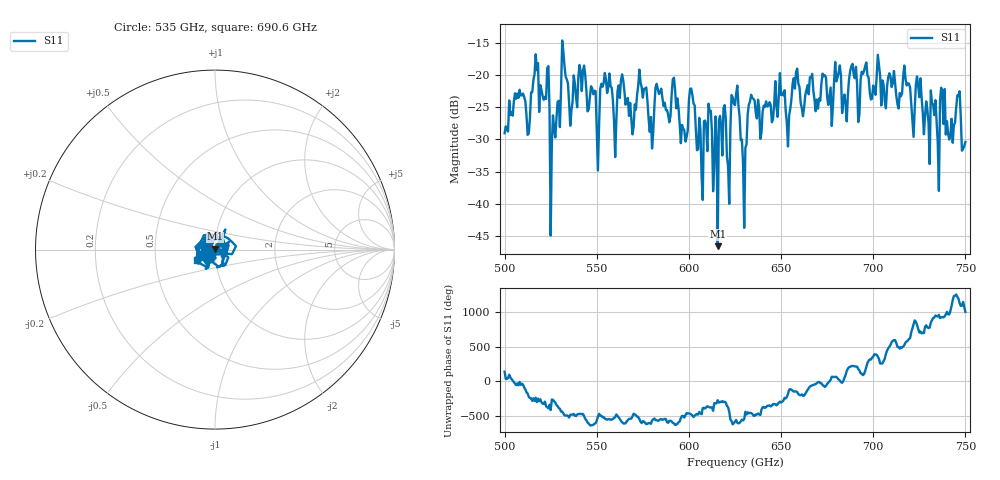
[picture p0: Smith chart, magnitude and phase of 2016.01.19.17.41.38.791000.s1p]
!Created with skrf (http://scikit-rf.org).
# GHz S RI R 50.0
!freq ReS11 ImS11
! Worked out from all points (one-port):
!   401 points, 500 GHz to 750 GHz, reference 50 ohm
!   lowest |S11| = -46.5 dB at 615.6 GHz (marker M1), VSWR 1.01, Z = 50 + j0.47 ohm
!   |S11| at or under -10 dB: start of sweep to end of sweep
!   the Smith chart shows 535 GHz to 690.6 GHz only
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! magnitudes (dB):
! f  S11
! 500 GHz  -29.0
! 506.9 GHz  -22.9
! 513.1 GHz  -29.1
! 516.9 GHz  -16.8
! 523.1 GHz  -18.9
! 526.2 GHz  -26.3
! 531.2 GHz  -14.7
! 550 GHz  -28.5
! 553.8 GHz  -21.3
! 562.5 GHz  -23.6
! 568.8 GHz  -26.7
! 574.4 GHz  -21.9
! 579.4 GHz  -26.5
! 583.1 GHz  -22.2
! 593.8 GHz  -23.6
! 615.6 GHz  -46.5
! 621.2 GHz  -34.2
! 625 GHz  -24.7
! 630 GHz  -43.7
! 633.8 GHz  -23.1
! 656.2 GHz  -21.4
! 680.6 GHz  -20.4
! 684.4 GHz  -23.0
! 687.5 GHz  -19.4
! 718.8 GHz  -21.3
! 734.4 GHz  -27.2
! 746.2 GHz  -23.1
! 750 GHz  -30.4
